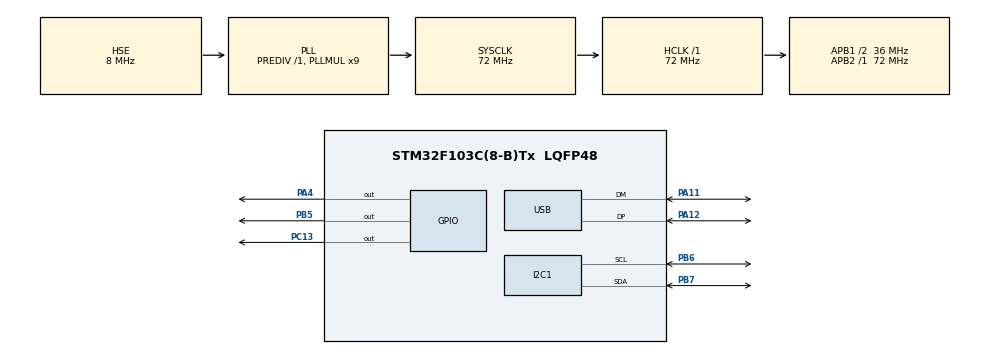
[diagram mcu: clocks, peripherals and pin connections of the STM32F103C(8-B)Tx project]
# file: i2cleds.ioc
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I2C1.I2C_Mode=I2C_Fast
Mcu.Family=STM32F1
Mcu.Name=STM32F103C(8-B)Tx
Mcu.Package=LQFP48
NVIC.I2C1_ER_IRQn=true\:0\:0\:false\:false\:true\:true\:true
NVIC.I2C1_EV_IRQn=true\:0\:0\:false\:false\:true\:true\:true
NVIC.PriorityGroup=NVIC_PRIORITYGROUP_4
NVIC.TIM3_IRQn=true\:0\:0\:false\:false\:true\:true\:true
NVIC.TIM4_IRQn=true\:0\:0\:false\:false\:true\:true\:true
NVIC.USB_LP_CAN1_RX0_IRQn=true\:0\:0\:false\:false\:true\:false\:true
PA11.Mode=Device
PA11.Signal=USB_DM
PA12.Mode=Device
PA12.Signal=USB_DP
PA13.Mode=Trace_Asynchronous_SW
PA13.Signal=SYS_JTMS-SWDIO
PA14.Mode=Trace_Asynchronous_SW
PA14.Signal=SYS_JTCK-SWCLK
PA4.Signal=GPIO_Output
PB3.Mode=Trace_Asynchronous_SW
PB3.Signal=SYS_JTDO-TRACESWO
PB5.Signal=GPIO_Output
PB6.Mode=I2C
PB6.Signal=I2C1_SCL
PB7.Mode=I2C
PB7.Signal=I2C1_SDA
PC13-TAMPER-RTC.Signal=GPIO_Output
PD0-OSC_IN.Mode=HSE-External-Oscillator
PD0-OSC_IN.Signal=RCC_OSC_IN
PD1-OSC_OUT.Mode=HSE-External-Oscillator
PD1-OSC_OUT.Signal=RCC_OSC_OUT
ProjectManager.HeapSize=0x200
ProjectManager.StackSize=0x400
ProjectManager.TargetToolchain=STM32CubeIDE
RCC.AHBFreq_Value=72000000
RCC.APB1CLKDivider=RCC_HCLK_DIV2
RCC.APB1Freq_Value=36000000
RCC.APB1TimFreq_Value=72000000
RCC.APB2Freq_Value=72000000
RCC.APB2TimFreq_Value=72000000
RCC.HCLKFreq_Value=72000000
RCC.PLLMUL=RCC_PLL_MUL9
RCC.PLLSourceVirtual=RCC_PLLSOURCE_HSE
RCC.RTCClockSelection=RCC_RTCCLKSOURCE_HSE_DIV128
RCC.SYSCLKFreq_VALUE=72000000
RCC.SYSCLKSource=RCC_SYSCLKSOURCE_PLLCLK
RCC.USBFreq_Value=48000000
RCC.USBPrescaler=RCC_USBCLKSOURCE_PLL_DIV1_5
STMicroelectronics.X-CUBE-ALGOBUILD.1.1.0.LibraryCcDSPOoLibraryJjDSPOoLibrary=true
TIM3.Period=4999
TIM3.Prescaler=7199
TIM4.Period=9999
TIM4.Prescaler=71
USB_DEVICE.CLASS_NAME_FS=DFU
USB_DEVICE.MANUFACTURER_STRING=Netcom Partner
USB_DEVICE.VirtualMode=Dfu
USB_DEVICE.VirtualModeFS=Dfu_FS
VP_STMicroelectronics.X-CUBE-ALGOBUILD_VS_DSPOoLibraryJjLibrary_1.1.0.Mode=DSPOoLibraryJjLibrary
VP_TIM3_VS_ClockSourceINT.Mode=Internal
VP_TIM4_VS_ClockSourceINT.Mode=Internal
VP_USB_DEVICE_VS_USB_DEVICE_DFU_FS.Mode=DFU_FS
board=custom

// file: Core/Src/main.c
/* USER CODE BEGIN Header */
/**
 ******************************************************************************
 * @file           : main.c
 * @brief          : Main program body
 ******************************************************************************
 * @attention
 *
 * <h2><center>&copy; Copyright (c) 2020 Lars Boegild Thomsen <lbthomsen@gmail.com>.
 * All rights reserved.</center></h2>
 *
 * This software component is licensed by Lars under MIT license,
 * the "License"; You may not use this file except in compliance with the
 * License. You may obtain a copy of the License at:
 *                        opensource.org/licenses/MIT
 *
 * Drive 5 RGB LEDS hooked up to to 15 pins of the I2C GPIO expander AW9523.
 * The AW9523 can control the intensity of each led by controlling the current
 * (so not the usual PWM approach).
 *
 ******************************************************************************
 */
/* USER CODE END Header */
#include "main.h"
#include "usb_device.h"

/* USER CODE BEGIN Includes */
#include <stdio.h>
#include <math.h>
#include <arm_math.h>
/* USER CODE END Includes */

/* USER CODE BEGIN PD */
#define AW9523_ADDR 0xb6
#define M_PI2 2 * M_PI
#define SAMPLE_FREQ 100
/* USER CODE END PD */

/* USER CODE BEGIN PM */
#define R 0
#define G 1
#define B 2
/* USER CODE END PM */

I2C_HandleTypeDef hi2c1;

TIM_HandleTypeDef htim3;
TIM_HandleTypeDef htim4;

/* USER CODE BEGIN PV */

float angle[5][3] = { { 0, 0, 0 }, { 0, 0, 0 }, { 0, 0, 0 }, { 0, 0, 0 }, { 0,
		0, 0 } };

float velocity[5][3] = { { 0, 0, 0 }, { 0, 0, 0 }, { 0, 0, 0 }, { 0, 0, 0 }, {
		0, 0, 0 } };

uint8_t amplitude[5][3] = { { 127, 127, 127 }, { 127, 127, 127 }, { 127, 127,
		127 }, { 127, 127, 127 }, { 127, 127, 127 } };

uint8_t i2c_values[17] =
		{ 0x20, 0, 0, 0, 0, 0, 0, 0, 0, 0, 0, 0, 0, 0, 0, 0, 0 };

// Bring order into chaos :)  Order of i2c register is quite random.
uint8_t *led_register[5][3] = { { (void*) &i2c_values[5],
		(void*) &i2c_values[6], (void*) &i2c_values[7] },
		{ (void*) &i2c_values[8], (void*) &i2c_values[9],
				(void*) &i2c_values[10] }, { (void*) &i2c_values[11],
				(void*) &i2c_values[12], (void*) &i2c_values[1] }, {
				(void*) &i2c_values[2], (void*) &i2c_values[3],
				(void*) &i2c_values[4] }, { (void*) &i2c_values[13],
				(void*) &i2c_values[14], (void*) &i2c_values[15] } };

/* USER CODE END PV */

void SystemClock_Config(void);
static void MX_GPIO_Init(void);
static void MX_I2C1_Init(void);
static void MX_TIM4_Init(void);
static void MX_TIM3_Init(void);

/* USER CODE BEGIN 0 */

int _write(int file, char *ptr, int len) {
	/* Implement your write code here, this is used by puts and printf for example */
	for (int i = 0; i < len; i++)
		ITM_SendChar((*ptr++));
	return len;
}

// Update all leds by transmitting all values using i2c
void update_leds(uint8_t values[17]) {
	HAL_I2C_Master_Transmit_IT(&hi2c1, AW9523_ADDR, values, 17);
}

void HAL_TIM_PeriodElapsedCallback(TIM_HandleTypeDef *htim) {
	HAL_GPIO_WritePin(GPIOA, GPIO_PIN_4, GPIO_PIN_SET);
	if (htim->Instance == TIM4) {

		for (uint8_t i = 0; i < 5; i++) {
			// Calculate value for each LED.  Using cos rather than sin so that an angle of
			// 0 will switch the LED off.
			for (uint8_t c = 0; c < 3; c++) {
				*(uint8_t*) led_register[i][c] = (uint8_t) (amplitude[i][c]
						- arm_cos_f32(angle[i][c]) * amplitude[i][c]);

				angle[i][c] += velocity[i][c];  // Calculate next angle
				if (angle[i][c] > M_PI2)		// Reset angle if gone full circle
					angle[i][c] -= M_PI2;
			}

		}

		// Send the i2c_values array to the device using i2c
		update_leds(i2c_values);
	}

	// Timer 3 only called once every half sec
	if (htim->Instance == TIM3) {
		HAL_GPIO_TogglePin(GPIOC, GPIO_PIN_13);
	}

	HAL_GPIO_WritePin(GPIOA, GPIO_PIN_4, GPIO_PIN_RESET);
}

void aw9523_write_register(uint8_t register_pointer, uint8_t register_value) {

	uint8_t data[2];
	data[0] = register_pointer;
	data[1] = register_value;

	HAL_I2C_Master_Transmit(&hi2c1, AW9523_ADDR, data, 2, 100);

}

void set_angle(uint8_t led, float r, float g, float b) {
	angle[led][R] = r;
	angle[led][G] = g;
	angle[led][B] = b;
}

void set_freq(uint8_t led, float r, float g, float b) {
	velocity[led][R] = M_PI2 / (SAMPLE_FREQ / r);
	velocity[led][G] = M_PI2 / (SAMPLE_FREQ / g);
	velocity[led][B] = M_PI2 / (SAMPLE_FREQ / b);
}

void set_amplitude(uint8_t led, uint8_t r, uint8_t g, uint8_t b) {
	amplitude[led][R] = r;
	amplitude[led][G] = g;
	amplitude[led][B] = b;
}

/* USER CODE END 0 */

int main(void)
{

  /* MCU Configuration--------------------------------------------------------*/

  /* Reset of all peripherals, Initializes the Flash interface and the Systick. */
  HAL_Init();

  /* Configure the system clock */
  SystemClock_Config();

  /* Initialize all configured peripherals */
  MX_GPIO_Init();
  MX_I2C1_Init();
  MX_TIM4_Init();
  MX_TIM3_Init();
  MX_USB_DEVICE_Init();
  /* USER CODE BEGIN 2 */

  // Timer 3 will generate an interrupt every 500 ms - used to toggle blue onboard led
  HAL_TIM_Base_Start_IT(&htim3);

	// Yank gpio expander rst high
	HAL_GPIO_WritePin(GPIOB, GPIO_PIN_5, GPIO_PIN_SET);

	aw9523_write_register(0x11, 0x03); // set to 0x00, 0x01, 0x02 or 0x03 to limit max current per pin.
	aw9523_write_register(0x12, 0x00);
	aw9523_write_register(0x13, 0x80);
	update_leds(i2c_values);

	HAL_TIM_Base_Start_IT(&htim4);

	//set_amplitude(0, 30, 30, 30);
	//set_amplitude(1, 30, 30, 30);
	//set_amplitude(2, 20, 20, 20);
	//set_amplitude(3, 30, 30, 30);
	//set_amplitude(4, 30, 30, 30);
	//set_amplitude(0, 3, 3, 3);
	//set_amplitude(1, 3, 3, 3);
	//set_amplitude(2, 2, 2, 2);
	//set_amplitude(3, 3, 3, 3);
	//set_amplitude(4, 3, 3, 3);
	//set_freq(0, 0.2, 0, 0.2);
	//set_freq(1, 0, 0.4, 0);
	//set_freq(2, 0.1, 0.1, 0.1);
	//set_angle(2, 0, 0, M_PI);
	//set_freq(3, 0.1, 0, 0.15);
	//set_freq(4, 0, 0.35, 0.3);

	// White at different rates
	set_freq(0, 0.020, 0, 0.0100);
	set_freq(1, 0.021, 0, 0.0101);
	set_freq(2, 0.022, 0, 0.0102);
	set_freq(3, 0.023, 0, 0.0103);
	set_freq(4, 0.024, 0, 0.0104);

	//set_angle(0, M_PI, M_PI, M_PI);
	//set_angle(1, M_PI, M_PI, M_PI);
	//set_angle(2, M_PI, M_PI, M_PI);
	//set_angle(3, M_PI, M_PI, M_PI);
	//set_angle(4, M_PI, M_PI, M_PI);

	// Full blast white

  /* USER CODE END 2 */

  /* Infinite loop */
  /* USER CODE BEGIN WHILE */

	uint32_t then = 0;
	uint32_t cnt = 0;

	// Everything is driven by timers and timer interrupt so not much to be done here
	while (1) {

		cnt++;

		uint32_t now = HAL_GetTick();
		if (now % 200 == 0 && now > then) { // Every second
			printf("Tick: %6lu (idle: %4lu)\n", now, cnt);
			cnt = 0;
			then = now;
		}

    /* USER CODE END WHILE */

	}
}

void SystemClock_Config(void)
{
  RCC_OscInitTypeDef RCC_OscInitStruct = {0};
  RCC_ClkInitTypeDef RCC_ClkInitStruct = {0};
  RCC_PeriphCLKInitTypeDef PeriphClkInit = {0};

  /** Initializes the RCC Oscillators according to the specified parameters
  * in the RCC_OscInitTypeDef structure.
  */
  RCC_OscInitStruct.OscillatorType = RCC_OSCILLATORTYPE_HSE;
  RCC_OscInitStruct.HSEState = RCC_HSE_ON;
  RCC_OscInitStruct.HSEPredivValue = RCC_HSE_PREDIV_DIV1;
  RCC_OscInitStruct.HSIState = RCC_HSI_ON;
  RCC_OscInitStruct.PLL.PLLState = RCC_PLL_ON;
  RCC_OscInitStruct.PLL.PLLSource = RCC_PLLSOURCE_HSE;
  RCC_OscInitStruct.PLL.PLLMUL = RCC_PLL_MUL9;
  if (HAL_RCC_OscConfig(&RCC_OscInitStruct) != HAL_OK)
  {
    Error_Handler();
  }
  /** Initializes the CPU, AHB and APB buses clocks
  */
  RCC_ClkInitStruct.ClockType = RCC_CLOCKTYPE_HCLK|RCC_CLOCKTYPE_SYSCLK
                              |RCC_CLOCKTYPE_PCLK1|RCC_CLOCKTYPE_PCLK2;
  RCC_ClkInitStruct.SYSCLKSource = RCC_SYSCLKSOURCE_PLLCLK;
  RCC_ClkInitStruct.AHBCLKDivider = RCC_SYSCLK_DIV1;
  RCC_ClkInitStruct.APB1CLKDivider = RCC_HCLK_DIV2;
  RCC_ClkInitStruct.APB2CLKDivider = RCC_HCLK_DIV1;

  if (HAL_RCC_ClockConfig(&RCC_ClkInitStruct, FLASH_LATENCY_2) != HAL_OK)
  {
    Error_Handler();
  }
  PeriphClkInit.PeriphClockSelection = RCC_PERIPHCLK_USB;
  PeriphClkInit.UsbClockSelection = RCC_USBCLKSOURCE_PLL_DIV1_5;
  if (HAL_RCCEx_PeriphCLKConfig(&PeriphClkInit) != HAL_OK)
  {
    Error_Handler();
  }
}

static void MX_I2C1_Init(void)
{

  hi2c1.Instance = I2C1;
  hi2c1.Init.ClockSpeed = 400000;
  hi2c1.Init.DutyCycle = I2C_DUTYCYCLE_2;
  hi2c1.Init.OwnAddress1 = 0;
  hi2c1.Init.AddressingMode = I2C_ADDRESSINGMODE_7BIT;
  hi2c1.Init.DualAddressMode = I2C_DUALADDRESS_DISABLE;
  hi2c1.Init.OwnAddress2 = 0;
  hi2c1.Init.GeneralCallMode = I2C_GENERALCALL_DISABLE;
  hi2c1.Init.NoStretchMode = I2C_NOSTRETCH_DISABLE;
  if (HAL_I2C_Init(&hi2c1) != HAL_OK)
  {
    Error_Handler();
  }

}

static void MX_TIM3_Init(void)
{

  TIM_ClockConfigTypeDef sClockSourceConfig = {0};
  TIM_MasterConfigTypeDef sMasterConfig = {0};

  htim3.Instance = TIM3;
  htim3.Init.Prescaler = 7199;
  htim3.Init.CounterMode = TIM_COUNTERMODE_UP;
  htim3.Init.Period = 4999;
  htim3.Init.ClockDivision = TIM_CLOCKDIVISION_DIV1;
  htim3.Init.AutoReloadPreload = TIM_AUTORELOAD_PRELOAD_DISABLE;
  if (HAL_TIM_Base_Init(&htim3) != HAL_OK)
  {
    Error_Handler();
  }
  sClockSourceConfig.ClockSource = TIM_CLOCKSOURCE_INTERNAL;
  if (HAL_TIM_ConfigClockSource(&htim3, &sClockSourceConfig) != HAL_OK)
  {
    Error_Handler();
  }
  sMasterConfig.MasterOutputTrigger = TIM_TRGO_RESET;
  sMasterConfig.MasterSlaveMode = TIM_MASTERSLAVEMODE_DISABLE;
  if (HAL_TIMEx_MasterConfigSynchronization(&htim3, &sMasterConfig) != HAL_OK)
  {
    Error_Handler();
  }

}

static void MX_TIM4_Init(void)
{

  TIM_ClockConfigTypeDef sClockSourceConfig = {0};
  TIM_MasterConfigTypeDef sMasterConfig = {0};

  htim4.Instance = TIM4;
  htim4.Init.Prescaler = 71;
  htim4.Init.CounterMode = TIM_COUNTERMODE_UP;
  htim4.Init.Period = 9999;
  htim4.Init.ClockDivision = TIM_CLOCKDIVISION_DIV1;
  htim4.Init.AutoReloadPreload = TIM_AUTORELOAD_PRELOAD_DISABLE;
  if (HAL_TIM_Base_Init(&htim4) != HAL_OK)
  {
    Error_Handler();
  }
  sClockSourceConfig.ClockSource = TIM_CLOCKSOURCE_INTERNAL;
  if (HAL_TIM_ConfigClockSource(&htim4, &sClockSourceConfig) != HAL_OK)
  {
    Error_Handler();
  }
  sMasterConfig.MasterOutputTrigger = TIM_TRGO_RESET;
  sMasterConfig.MasterSlaveMode = TIM_MASTERSLAVEMODE_DISABLE;
  if (HAL_TIMEx_MasterConfigSynchronization(&htim4, &sMasterConfig) != HAL_OK)
  {
    Error_Handler();
  }

}

static void MX_GPIO_Init(void)
{
  GPIO_InitTypeDef GPIO_InitStruct = {0};

  /* GPIO Ports Clock Enable */
  __HAL_RCC_GPIOC_CLK_ENABLE();
  __HAL_RCC_GPIOD_CLK_ENABLE();
  __HAL_RCC_GPIOA_CLK_ENABLE();
  __HAL_RCC_GPIOB_CLK_ENABLE();

  /*Configure GPIO pin Output Level */
  HAL_GPIO_WritePin(GPIOC, GPIO_PIN_13, GPIO_PIN_RESET);

  /*Configure GPIO pin Output Level */
  HAL_GPIO_WritePin(GPIOA, GPIO_PIN_4, GPIO_PIN_RESET);

  /*Configure GPIO pin Output Level */
  HAL_GPIO_WritePin(GPIOB, GPIO_PIN_5, GPIO_PIN_RESET);

  /*Configure GPIO pin : PC13 */
  GPIO_InitStruct.Pin = GPIO_PIN_13;
  GPIO_InitStruct.Mode = GPIO_MODE_OUTPUT_PP;
  GPIO_InitStruct.Pull = GPIO_NOPULL;
  GPIO_InitStruct.Speed = GPIO_SPEED_FREQ_LOW;
  HAL_GPIO_Init(GPIOC, &GPIO_InitStruct);

  /*Configure GPIO pin : PA4 */
  GPIO_InitStruct.Pin = GPIO_PIN_4;
  GPIO_InitStruct.Mode = GPIO_MODE_OUTPUT_PP;
  GPIO_InitStruct.Pull = GPIO_NOPULL;
  GPIO_InitStruct.Speed = GPIO_SPEED_FREQ_LOW;
  HAL_GPIO_Init(GPIOA, &GPIO_InitStruct);

  /*Configure GPIO pin : PB5 */
  GPIO_InitStruct.Pin = GPIO_PIN_5;
  GPIO_InitStruct.Mode = GPIO_MODE_OUTPUT_PP;
  GPIO_InitStruct.Pull = GPIO_NOPULL;
  GPIO_InitStruct.Speed = GPIO_SPEED_FREQ_LOW;
  HAL_GPIO_Init(GPIOB, &GPIO_InitStruct);

}

void Error_Handler(void)
{
}

/************************ (C) COPYRIGHT STMicroelectronics *****END OF FILE****/
